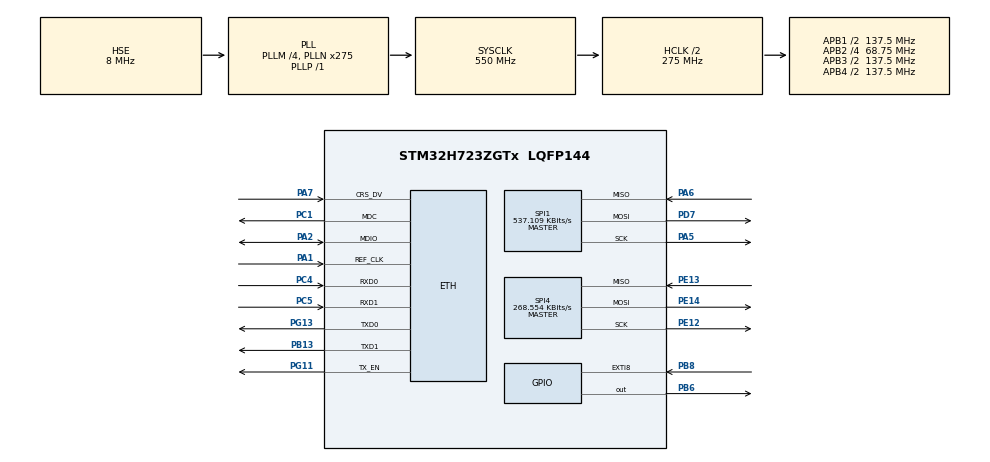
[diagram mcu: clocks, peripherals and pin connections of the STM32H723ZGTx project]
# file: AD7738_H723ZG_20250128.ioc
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CORTEX_M7.AccessPermission-Cortex_Memory_Protection_Unit_Region1_Settings=MPU_REGION_FULL_ACCESS
CORTEX_M7.AccessPermission-Cortex_Memory_Protection_Unit_Region2_Settings=MPU_REGION_FULL_ACCESS
CORTEX_M7.BaseAddress-Cortex_Memory_Protection_Unit_Region1_Settings=0x30000000
CORTEX_M7.BaseAddress-Cortex_Memory_Protection_Unit_Region2_Settings=0x30000200
CORTEX_M7.CPU_DCache=Enabled
CORTEX_M7.CPU_ICache=Enabled
CORTEX_M7.DisableExec-Cortex_Memory_Protection_Unit_Region0_Settings=MPU_INSTRUCTION_ACCESS_DISABLE
CORTEX_M7.DisableExec-Cortex_Memory_Protection_Unit_Region1_Settings=MPU_INSTRUCTION_ACCESS_DISABLE
CORTEX_M7.DisableExec-Cortex_Memory_Protection_Unit_Region2_Settings=MPU_INSTRUCTION_ACCESS_DISABLE
CORTEX_M7.Enable-Cortex_Memory_Protection_Unit_Region0_Settings=MPU_REGION_ENABLE
CORTEX_M7.Enable-Cortex_Memory_Protection_Unit_Region1_Settings=MPU_REGION_ENABLE
CORTEX_M7.Enable-Cortex_Memory_Protection_Unit_Region2_Settings=MPU_REGION_ENABLE
CORTEX_M7.IsBufferable-Cortex_Memory_Protection_Unit_Region1_Settings=MPU_ACCESS_BUFFERABLE
CORTEX_M7.IsShareable-Cortex_Memory_Protection_Unit_Region0_Settings=MPU_ACCESS_SHAREABLE
CORTEX_M7.IsShareable-Cortex_Memory_Protection_Unit_Region1_Settings=MPU_ACCESS_SHAREABLE
CORTEX_M7.IsShareable-Cortex_Memory_Protection_Unit_Region2_Settings=MPU_ACCESS_NOT_SHAREABLE
CORTEX_M7.MPU_Control=MPU_PRIVILEGED_DEFAULT
CORTEX_M7.Size-Cortex_Memory_Protection_Unit_Region0_Settings=MPU_REGION_SIZE_4GB
CORTEX_M7.Size-Cortex_Memory_Protection_Unit_Region1_Settings=MPU_REGION_SIZE_1KB
CORTEX_M7.Size-Cortex_Memory_Protection_Unit_Region2_Settings=MPU_REGION_SIZE_64KB
CORTEX_M7.SubRegionDisable-Cortex_Memory_Protection_Unit_Region0_Settings=0x87
CORTEX_M7.TypeExtField-Cortex_Memory_Protection_Unit_Region1_Settings=MPU_TEX_LEVEL0
CORTEX_M7.TypeExtField-Cortex_Memory_Protection_Unit_Region2_Settings=MPU_TEX_LEVEL1
Dma.Request0=SPI4_TX
Dma.Request1=SPI4_RX
Dma.Request2=SPI1_RX
Dma.Request3=SPI1_TX
Dma.SPI1_RX.2.Direction=DMA_PERIPH_TO_MEMORY
Dma.SPI1_RX.2.EventEnable=DISABLE
Dma.SPI1_RX.2.FIFOMode=DMA_FIFOMODE_DISABLE
Dma.SPI1_RX.2.Instance=DMA1_Stream2
Dma.SPI1_RX.2.MemDataAlignment=DMA_MDATAALIGN_BYTE
Dma.SPI1_RX.2.MemInc=DMA_MINC_ENABLE
Dma.SPI1_RX.2.Mode=DMA_NORMAL
Dma.SPI1_RX.2.PeriphDataAlignment=DMA_PDATAALIGN_BYTE
Dma.SPI1_RX.2.PeriphInc=DMA_PINC_DISABLE
Dma.SPI1_RX.2.Polarity=HAL_DMAMUX_REQ_GEN_RISING
Dma.SPI1_RX.2.Priority=DMA_PRIORITY_VERY_HIGH
Dma.SPI1_RX.2.RequestNumber=1
Dma.SPI1_RX.2.SignalID=NONE
Dma.SPI1_RX.2.SyncEnable=DISABLE
Dma.SPI1_RX.2.SyncPolarity=HAL_DMAMUX_SYNC_NO_EVENT
Dma.SPI1_RX.2.SyncRequestNumber=1
Dma.SPI1_RX.2.SyncSignalID=NONE
Dma.SPI1_TX.3.Direction=DMA_MEMORY_TO_PERIPH
Dma.SPI1_TX.3.EventEnable=DISABLE
Dma.SPI1_TX.3.FIFOMode=DMA_FIFOMODE_DISABLE
Dma.SPI1_TX.3.Instance=DMA1_Stream3
Dma.SPI1_TX.3.MemDataAlignment=DMA_MDATAALIGN_BYTE
Dma.SPI1_TX.3.MemInc=DMA_MINC_ENABLE
Dma.SPI1_TX.3.Mode=DMA_NORMAL
Dma.SPI1_TX.3.PeriphDataAlignment=DMA_PDATAALIGN_BYTE
Dma.SPI1_TX.3.PeriphInc=DMA_PINC_DISABLE
Dma.SPI1_TX.3.Polarity=HAL_DMAMUX_REQ_GEN_RISING
Dma.SPI1_TX.3.Priority=DMA_PRIORITY_VERY_HIGH
Dma.SPI1_TX.3.RequestNumber=1
Dma.SPI1_TX.3.SignalID=NONE
Dma.SPI1_TX.3.SyncEnable=DISABLE
Dma.SPI1_TX.3.SyncPolarity=HAL_DMAMUX_SYNC_NO_EVENT
Dma.SPI1_TX.3.SyncRequestNumber=1
Dma.SPI1_TX.3.SyncSignalID=NONE
Dma.SPI4_RX.1.Direction=DMA_PERIPH_TO_MEMORY
Dma.SPI4_RX.1.EventEnable=DISABLE
Dma.SPI4_RX.1.FIFOMode=DMA_FIFOMODE_DISABLE
Dma.SPI4_RX.1.Instance=DMA1_Stream1
Dma.SPI4_RX.1.MemDataAlignment=DMA_MDATAALIGN_BYTE
Dma.SPI4_RX.1.MemInc=DMA_MINC_ENABLE
Dma.SPI4_RX.1.Mode=DMA_NORMAL
Dma.SPI4_RX.1.PeriphDataAlignment=DMA_PDATAALIGN_BYTE
Dma.SPI4_RX.1.PeriphInc=DMA_PINC_DISABLE
Dma.SPI4_RX.1.Polarity=HAL_DMAMUX_REQ_GEN_RISING
Dma.SPI4_RX.1.Priority=DMA_PRIORITY_VERY_HIGH
Dma.SPI4_RX.1.RequestNumber=1
Dma.SPI4_RX.1.SignalID=NONE
Dma.SPI4_RX.1.SyncEnable=DISABLE
Dma.SPI4_RX.1.SyncPolarity=HAL_DMAMUX_SYNC_NO_EVENT
Dma.SPI4_RX.1.SyncRequestNumber=1
Dma.SPI4_RX.1.SyncSignalID=NONE
Dma.SPI4_TX.0.Direction=DMA_MEMORY_TO_PERIPH
Dma.SPI4_TX.0.EventEnable=DISABLE
Dma.SPI4_TX.0.FIFOMode=DMA_FIFOMODE_DISABLE
Dma.SPI4_TX.0.Instance=DMA1_Stream0
Dma.SPI4_TX.0.MemDataAlignment=DMA_MDATAALIGN_BYTE
Dma.SPI4_TX.0.MemInc=DMA_MINC_ENABLE
Dma.SPI4_TX.0.Mode=DMA_NORMAL
Dma.SPI4_TX.0.PeriphDataAlignment=DMA_PDATAALIGN_BYTE
Dma.SPI4_TX.0.PeriphInc=DMA_PINC_DISABLE
Dma.SPI4_TX.0.Polarity=HAL_DMAMUX_REQ_GEN_RISING
Dma.SPI4_TX.0.Priority=DMA_PRIORITY_VERY_HIGH
Dma.SPI4_TX.0.RequestNumber=1
Dma.SPI4_TX.0.SignalID=NONE
Dma.SPI4_TX.0.SyncEnable=DISABLE
Dma.SPI4_TX.0.SyncPolarity=HAL_DMAMUX_SYNC_NO_EVENT
Dma.SPI4_TX.0.SyncRequestNumber=1
Dma.SPI4_TX.0.SyncSignalID=NONE
ETH.MediaInterface=HAL_ETH_RMII_MODE
ETH.TxDescAddress=0x30000100
FREERTOS.INCLUDE_vTaskDelayUntil=1
FREERTOS.Tasks01=defaultTask,0,256,StartDefaultTask,Default,NULL,Dynamic,NULL,NULL;ethernetTask,2,256,startEthernetTask,Default,NULL,Dynamic,NULL,NULL
FREERTOS.configUSE_NEWLIB_REENTRANT=1
LWIP.BSP.number=1
LWIP.GATEWAY_ADDRESS=010.020.001.001
LWIP.IP_ADDRESS=010.020.003.003
LWIP.LWIP_DHCP=0
LWIP.LWIP_RAM_HEAP_POINTER=0x30000200
LWIP.MEM_SIZE=32232
LWIP.NETMASK_ADDRESS=255.255.000.000
LWIP.TCP_MSS=1460
LWIP.TCP_SND_BUF=5840
LWIP.TCP_SND_QUEUELEN=16
LWIP.Version=v2.1.2_Cube
LWIP0.BSP.STBoard=false
LWIP0.BSP.api=BSP_COMPONENT_DRIVER
LWIP0.BSP.component=LAN8742
LWIP0.BSP.instance=LAN8742
LWIP0.BSP.name=Driver_PHY
LWIP0.BSP.semaphore=S_LAN8742
LWIP0.BSP.solution=LAN8742
Mcu.Family=STM32H7
Mcu.Name=STM32H723ZGTx
Mcu.Package=LQFP144
NVIC.DMA1_Stream0_IRQn=true\:5\:0\:false\:false\:true\:true\:false\:true\:true
NVIC.DMA1_Stream1_IRQn=true\:5\:0\:false\:false\:true\:true\:false\:true\:true
NVIC.DMA1_Stream2_IRQn=true\:5\:0\:false\:false\:true\:true\:false\:true\:true
NVIC.DMA1_Stream3_IRQn=true\:5\:0\:false\:false\:true\:true\:false\:true\:true
NVIC.ETH_IRQn=true\:5\:0\:false\:false\:true\:true\:true\:true\:true
NVIC.EXTI9_5_IRQn=true\:5\:0\:false\:false\:true\:true\:true\:true\:true
NVIC.PriorityGroup=NVIC_PRIORITYGROUP_4
NVIC.SPI1_IRQn=true\:5\:0\:false\:false\:true\:true\:true\:true\:true
NVIC.SPI4_IRQn=true\:5\:0\:false\:false\:true\:true\:false\:true\:true
NVIC.TIM2_IRQn=true\:5\:0\:false\:false\:true\:false\:true\:true\:true
NVIC.TIM6_DAC_IRQn=true\:15\:0\:false\:false\:true\:false\:false\:true\:true
NVIC.TimeBase=TIM6_DAC_IRQn
NVIC.TimeBaseIP=TIM6
PA1.GPIO_Speed=GPIO_SPEED_FREQ_VERY_HIGH
PA1.Mode=RMII
PA1.Signal=ETH_REF_CLK
PA2.GPIO_Speed=GPIO_SPEED_FREQ_VERY_HIGH
PA2.Mode=RMII
PA2.Signal=ETH_MDIO
PA5.Mode=Full_Duplex_Master
PA5.Signal=SPI1_SCK
PA6.Mode=Full_Duplex_Master
PA6.Signal=SPI1_MISO
PA7.GPIO_Speed=GPIO_SPEED_FREQ_VERY_HIGH
PA7.Mode=RMII
PA7.Signal=ETH_CRS_DV
PB13.GPIO_Speed=GPIO_SPEED_FREQ_VERY_HIGH
PB13.Mode=RMII
PB13.Signal=ETH_TXD1
PB6.GPIO_Speed=GPIO_SPEED_FREQ_VERY_HIGH
PB6.Signal=GPIO_Output
PB8.GPIO_ModeDefaultEXTI=GPIO_MODE_IT_FALLING
PB8.GPIO_PuPd=GPIO_PULLUP
PB8.Signal=GPXTI8
PC1.GPIO_Speed=GPIO_SPEED_FREQ_VERY_HIGH
PC1.Mode=RMII
PC1.Signal=ETH_MDC
PC4.GPIO_Speed=GPIO_SPEED_FREQ_VERY_HIGH
PC4.Mode=RMII
PC4.Signal=ETH_RXD0
PC5.GPIO_Speed=GPIO_SPEED_FREQ_VERY_HIGH
PC5.Mode=RMII
PC5.Signal=ETH_RXD1
PD7.Mode=Full_Duplex_Master
PD7.Signal=SPI1_MOSI
PE12.Mode=Full_Duplex_Master
PE12.Signal=SPI4_SCK
PE13.Mode=Full_Duplex_Master
PE13.Signal=SPI4_MISO
PE14.Mode=Full_Duplex_Master
PE14.Signal=SPI4_MOSI
PG11.GPIO_Speed=GPIO_SPEED_FREQ_VERY_HIGH
PG11.Mode=RMII
PG11.Signal=ETH_TX_EN
PG13.GPIO_Speed=GPIO_SPEED_FREQ_VERY_HIGH
PG13.Mode=RMII
PG13.Signal=ETH_TXD0
PH0-OSC_IN.Mode=HSE-External-Clock-Source
PH0-OSC_IN.Signal=RCC_OSC_IN
ProjectManager.HeapSize=0x200
ProjectManager.StackSize=0x400
ProjectManager.TargetToolchain=STM32CubeIDE
RCC.ADCFreq_Value=76000000
RCC.APB1Freq_Value=137500000
RCC.APB2Freq_Value=68750000
RCC.APB3Freq_Value=137500000
RCC.APB4Freq_Value=137500000
RCC.CortexFreq_Value=550000000
RCC.D1PPRE=RCC_APB3_DIV2
RCC.D2PPRE1=RCC_APB1_DIV2
RCC.D2PPRE2=RCC_APB2_DIV4
RCC.D3PPRE=RCC_APB4_DIV2
RCC.DIVM1=4
RCC.DIVM2=1
RCC.DIVN1=275
RCC.DIVN2=19
RCC.DIVP1=1
RCC.DIVQ1=4
RCC.HCLKFreq_Value=275000000
RCC.HPRE=RCC_HCLK_DIV2
RCC.HSE_VALUE=8000000
RCC.PLLFRACN=0
RCC.PLLSourceVirtual=RCC_PLLSOURCE_HSE
RCC.SYSCLKFreq_VALUE=550000000
RCC.SYSCLKSource=RCC_SYSCLKSOURCE_PLLCLK
RCC.USBCLockSelection=RCC_USBCLKSOURCE_HSI48
RCC.USBFreq_Value=48000000
SPI1.BaudRatePrescaler=SPI_BAUDRATEPRESCALER_256
SPI1.CLKPhase=SPI_PHASE_2EDGE
SPI1.CLKPolarity=SPI_POLARITY_HIGH
SPI1.CalculateBaudRate=537.109 KBits/s
SPI1.DataSize=SPI_DATASIZE_8BIT
SPI1.Direction=SPI_DIRECTION_2LINES
SPI1.Mode=SPI_MODE_MASTER
SPI1.VirtualType=VM_MASTER
SPI4.BaudRatePrescaler=SPI_BAUDRATEPRESCALER_256
SPI4.CLKPhase=SPI_PHASE_2EDGE
SPI4.CLKPolarity=SPI_POLARITY_HIGH
SPI4.CalculateBaudRate=268.554 KBits/s
SPI4.DataSize=SPI_DATASIZE_8BIT
SPI4.Direction=SPI_DIRECTION_2LINES
SPI4.MasterKeepIOState=SPI_MASTER_KEEP_IO_STATE_DISABLE
SPI4.Mode=SPI_MODE_MASTER
SPI4.VirtualType=VM_MASTER
TIM1.Channel-Output\ Compare1\ No\ Output=TIM_CHANNEL_1
TIM1.Prescaler=1375-1
TIM2.Channel-PWM\ Generation1\ No\ Output=TIM_CHANNEL_1
TIM2.Period=1000-1
TIM2.Prescaler=275-1
TIM2.TIM_MasterOutputTrigger=TIM_TRGO_RESET
TIM23.Prescaler=275-1
VP_FREERTOS_VS_CMSIS_V1.Mode=CMSIS_V1
VP_LWIP_VS_Enabled.Mode=Enabled
VP_SYS_VS_tim6.Mode=TIM6
VP_TIM1_VS_ClockSourceINT.Mode=Internal
VP_TIM1_VS_no_output1.Mode=Output Compare1 No Output
VP_TIM23_VS_ClockSourceINT.Mode=Internal
VP_TIM2_VS_ClockSourceINT.Mode=Internal
VP_TIM2_VS_no_output1.Mode=PWM Generation1 No Output
board=NUCLEO-H723ZG

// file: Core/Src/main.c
/* USER CODE BEGIN Header */
/**
  ******************************************************************************
  * @file           : main.c
  * @brief          : Main program body
  ******************************************************************************
  * @attention
  *
  * Copyright (c) 2024 STMicroelectronics.
  * All rights reserved.
  *
  * This software is licensed under terms that can be found in the LICENSE file
  * in the root directory of this software component.
  * If no LICENSE file comes with this software, it is provided AS-IS.
  *
  ******************************************************************************
  */
/* USER CODE END Header */
#include "main.h"
#include "cmsis_os.h"
#include "lwip.h"

/* USER CODE BEGIN Includes */
#include "lwip/udp.h"
#include <string.h>
#include <stdbool.h>
#include "stm32h7xx_it.h"
#include "AD7738_Registers.h"
/* USER CODE END Includes */

SPI_HandleTypeDef hspi1;
SPI_HandleTypeDef hspi4;
DMA_HandleTypeDef hdma_spi1_rx;
DMA_HandleTypeDef hdma_spi1_tx;
DMA_HandleTypeDef hdma_spi4_tx;
DMA_HandleTypeDef hdma_spi4_rx;

TIM_HandleTypeDef htim1;
TIM_HandleTypeDef htim2;
TIM_HandleTypeDef htim23;

osThreadId defaultTaskHandle;
osThreadId ethernetTaskHandle;
/* USER CODE BEGIN PV */

uint16_t spiData[740];
uint16_t tempBuffer[641];

volatile uint16_t spiIndex = 0;
volatile uint32_t sampleNum = 0;

uint8_t resetSequence[5] = {0x00, 0xFF, 0xFF, 0xFF, 0xFF};

uint8_t checkTransmit[1] = {0b01000010};

uint8_t checkReceive[1] = {0b00000000};

uint8_t setupSequence[26] = {
	 // IO PORT SETUP
	 AD7738_COMM_WRITE| AD7738_REG_IO, 		     // IO port register, Write
	 AD7738_CH_IO_MODE1, 						 // RDY signal goes low after all conversions

	 // AIN0
	 AD7738_COMM_WRITE| AD7738_REG_CH1_SETUP, 	 // AIN0 setup register, Write
	 AD7738_CH_SETUP_MODE2, 				  	 // Enable AIN0, set to +- 2.5V, single-ended
	 AD7738_COMM_WRITE| AD7738_REG_CH1_CONVTIME, // AIN0 conversion time register, Write
	 AD7738_CH_CONVTIME_MODE3, 				 	 // new value for conversion time

	 // AIN1
	 AD7738_COMM_WRITE| AD7738_REG_CH2_SETUP, 	 // AIN1 setup register, Write
	 AD7738_CH_SETUP_MODE2, 				  	 // Enable AIN1, set to +- 2.5V, single-ended
	 AD7738_COMM_WRITE| AD7738_REG_CH2_CONVTIME, // AIN1 conversion time register, Write
	 AD7738_CH_CONVTIME_MODE3, 					 // new value for conversion time

	 // AIN2
	 AD7738_COMM_WRITE| AD7738_REG_CH3_SETUP, 	 // AIN2 setup register, Write
	 AD7738_CH_SETUP_MODE2, 				  	 // Enable AIN2, set to +- 2.5V, single-ended
	 AD7738_COMM_WRITE| AD7738_REG_CH3_CONVTIME, // AIN2 conversion time register, Write
	 AD7738_CH_CONVTIME_MODE3, 					 // new value for conversion time

	 // AIN3
	 AD7738_COMM_WRITE| AD7738_REG_CH4_SETUP, 	 // AIN3 setup register, Write
	 AD7738_CH_SETUP_MODE2, 				 	 // Enable AIN3, set to +- 2.5V, single-ended
	 AD7738_COMM_WRITE| AD7738_REG_CH4_CONVTIME, // AIN3 conversion time register, Write
	 AD7738_CH_CONVTIME_MODE3, 					 // new value for conversion time

	 // AIN4
	 AD7738_COMM_WRITE| AD7738_REG_CH5_SETUP, 	 // AIN4 setup register, Write
	 AD7738_CH_SETUP_MODE2, 				  	 // Enable AIN4, set to +- 2.5V, single-ended
	 AD7738_COMM_WRITE| AD7738_REG_CH5_CONVTIME, // AIN4 conversion time register, Write
	 AD7738_CH_CONVTIME_MODE3, 					 // new value for conversion time

	 // AIN5
	 AD7738_COMM_WRITE| AD7738_REG_CH6_SETUP, 	 // AIN5 setup register, Write
	 AD7738_CH_SETUP_MODE2,					  	 // Enable AIN5, set to +- 2.5V, single-ended
	 AD7738_COMM_WRITE| AD7738_REG_CH6_CONVTIME, // AIN5 conversion time register, Write
	 AD7738_CH_CONVTIME_MODE3, 					 // CHOP=1, 8.5kHz
};

uint8_t startContConversionSequence[2] = {
	AD7738_COMM_WRITE| AD7738_REG_CH1_MODE,
	AD7738_CH_MODE_MODE4 // Continuous conversion mode, continuous read disabled, 24 bit mode, clamp = 1
};

uint8_t txBuffer24bit[30] = {
  0b01001000, 0x00, 0x00, 0x00, 0x00,  // AIN0 data register, Read 24 bits
  0b01001001, 0x00, 0x00, 0x00, 0x00,  // AIN1 data register, Read 24 bits
  0b01001010, 0x00, 0x00, 0x00, 0x00,  // AIN2 data register, Read 24 bits
  0b01001011, 0x00, 0x00, 0x00, 0x00,  // AIN3 data register, Read 24 bits
  0b01001100, 0x00, 0x00, 0x00, 0x00,  // AIN4 data register, Read 24 bits
  0b01001101, 0x00, 0x00, 0x00, 0x00   // AIN5 data register, Read 24 bits
};
uint8_t rxBuffer24bit[30];

volatile uint8_t ch1_status;
volatile uint8_t ch2_status;
volatile uint8_t ch3_status;
volatile uint8_t ch4_status;
volatile uint8_t ch5_status;
volatile uint8_t ch6_status;

volatile uint32_t value1;
volatile uint32_t value2;
volatile uint32_t value3;
volatile uint32_t value4;
volatile uint32_t value5;
volatile uint32_t value6;

volatile uint32_t timer23val;

/* USER CODE END PV */

void SystemClock_Config(void);
static void MPU_Config(void);
static void MX_GPIO_Init(void);
static void MX_DMA_Init(void);
static void MX_TIM2_Init(void);
static void MX_SPI4_Init(void);
static void MX_TIM23_Init(void);
static void MX_TIM1_Init(void);
static void MX_SPI1_Init(void);
void StartDefaultTask(void const * argument);
void startEthernetTask(void const * argument);

int main(void)
{

  /* MPU Configuration--------------------------------------------------------*/
  MPU_Config();

  /* Enable the CPU Cache */

  /* Enable I-Cache---------------------------------------------------------*/
  SCB_EnableICache();

  /* Enable D-Cache---------------------------------------------------------*/
  SCB_EnableDCache();

  /* MCU Configuration--------------------------------------------------------*/

  /* Reset of all peripherals, Initializes the Flash interface and the Systick. */
  HAL_Init();

  /* Configure the system clock */
  SystemClock_Config();

  /* Initialize all configured peripherals */
  MX_GPIO_Init();
  MX_DMA_Init();
  MX_TIM2_Init();
  MX_SPI4_Init();
  MX_TIM23_Init();
  MX_TIM1_Init();
  MX_SPI1_Init();

  /* Create the thread(s) */
  /* definition and creation of defaultTask */
  osThreadDef(defaultTask, StartDefaultTask, osPriorityNormal, 0, 256);
  defaultTaskHandle = osThreadCreate(osThread(defaultTask), NULL);

  /* definition and creation of ethernetTask */
  osThreadDef(ethernetTask, startEthernetTask, osPriorityHigh, 0, 256);
  ethernetTaskHandle = osThreadCreate(osThread(ethernetTask), NULL);

  /* Start scheduler */
  osKernelStart();

  /* We should never get here as control is now taken by the scheduler */

  /* Infinite loop */
  while (1)
  {

  }
}

void SystemClock_Config(void)
{
  RCC_OscInitTypeDef RCC_OscInitStruct = {0};
  RCC_ClkInitTypeDef RCC_ClkInitStruct = {0};

  /** Supply configuration update enable
  */
  HAL_PWREx_ConfigSupply(PWR_LDO_SUPPLY);

  /** Configure the main internal regulator output voltage
  */
  __HAL_PWR_VOLTAGESCALING_CONFIG(PWR_REGULATOR_VOLTAGE_SCALE0);

  while(!__HAL_PWR_GET_FLAG(PWR_FLAG_VOSRDY)) {}

  /** Initializes the RCC Oscillators according to the specified parameters
  * in the RCC_OscInitTypeDef structure.
  */
  RCC_OscInitStruct.OscillatorType = RCC_OSCILLATORTYPE_HSE;
  RCC_OscInitStruct.HSEState = RCC_HSE_BYPASS;
  RCC_OscInitStruct.PLL.PLLState = RCC_PLL_ON;
  RCC_OscInitStruct.PLL.PLLSource = RCC_PLLSOURCE_HSE;
  RCC_OscInitStruct.PLL.PLLM = 4;
  RCC_OscInitStruct.PLL.PLLN = 275;
  RCC_OscInitStruct.PLL.PLLP = 1;
  RCC_OscInitStruct.PLL.PLLQ = 4;
  RCC_OscInitStruct.PLL.PLLR = 2;
  RCC_OscInitStruct.PLL.PLLRGE = RCC_PLL1VCIRANGE_1;
  RCC_OscInitStruct.PLL.PLLVCOSEL = RCC_PLL1VCOWIDE;
  RCC_OscInitStruct.PLL.PLLFRACN = 0;
  if (HAL_RCC_OscConfig(&RCC_OscInitStruct) != HAL_OK)
  {
    Error_Handler();
  }

  /** Initializes the CPU, AHB and APB buses clocks
  */
  RCC_ClkInitStruct.ClockType = RCC_CLOCKTYPE_HCLK|RCC_CLOCKTYPE_SYSCLK
                              |RCC_CLOCKTYPE_PCLK1|RCC_CLOCKTYPE_PCLK2
                              |RCC_CLOCKTYPE_D3PCLK1|RCC_CLOCKTYPE_D1PCLK1;
  RCC_ClkInitStruct.SYSCLKSource = RCC_SYSCLKSOURCE_PLLCLK;
  RCC_ClkInitStruct.SYSCLKDivider = RCC_SYSCLK_DIV1;
  RCC_ClkInitStruct.AHBCLKDivider = RCC_HCLK_DIV2;
  RCC_ClkInitStruct.APB3CLKDivider = RCC_APB3_DIV2;
  RCC_ClkInitStruct.APB1CLKDivider = RCC_APB1_DIV2;
  RCC_ClkInitStruct.APB2CLKDivider = RCC_APB2_DIV4;
  RCC_ClkInitStruct.APB4CLKDivider = RCC_APB4_DIV2;

  if (HAL_RCC_ClockConfig(&RCC_ClkInitStruct, FLASH_LATENCY_3) != HAL_OK)
  {
    Error_Handler();
  }
}

static void MX_SPI1_Init(void)
{

  /* SPI1 parameter configuration*/
  hspi1.Instance = SPI1;
  hspi1.Init.Mode = SPI_MODE_MASTER;
  hspi1.Init.Direction = SPI_DIRECTION_2LINES;
  hspi1.Init.DataSize = SPI_DATASIZE_8BIT;
  hspi1.Init.CLKPolarity = SPI_POLARITY_HIGH;
  hspi1.Init.CLKPhase = SPI_PHASE_2EDGE;
  hspi1.Init.NSS = SPI_NSS_SOFT;
  hspi1.Init.BaudRatePrescaler = SPI_BAUDRATEPRESCALER_256;
  hspi1.Init.FirstBit = SPI_FIRSTBIT_MSB;
  hspi1.Init.TIMode = SPI_TIMODE_DISABLE;
  hspi1.Init.CRCCalculation = SPI_CRCCALCULATION_DISABLE;
  hspi1.Init.CRCPolynomial = 0x0;
  hspi1.Init.NSSPMode = SPI_NSS_PULSE_ENABLE;
  hspi1.Init.NSSPolarity = SPI_NSS_POLARITY_LOW;
  hspi1.Init.FifoThreshold = SPI_FIFO_THRESHOLD_01DATA;
  hspi1.Init.TxCRCInitializationPattern = SPI_CRC_INITIALIZATION_ALL_ZERO_PATTERN;
  hspi1.Init.RxCRCInitializationPattern = SPI_CRC_INITIALIZATION_ALL_ZERO_PATTERN;
  hspi1.Init.MasterSSIdleness = SPI_MASTER_SS_IDLENESS_00CYCLE;
  hspi1.Init.MasterInterDataIdleness = SPI_MASTER_INTERDATA_IDLENESS_00CYCLE;
  hspi1.Init.MasterReceiverAutoSusp = SPI_MASTER_RX_AUTOSUSP_DISABLE;
  hspi1.Init.MasterKeepIOState = SPI_MASTER_KEEP_IO_STATE_DISABLE;
  hspi1.Init.IOSwap = SPI_IO_SWAP_DISABLE;
  if (HAL_SPI_Init(&hspi1) != HAL_OK)
  {
    Error_Handler();
  }

}

static void MX_SPI4_Init(void)
{

  /* SPI4 parameter configuration*/
  hspi4.Instance = SPI4;
  hspi4.Init.Mode = SPI_MODE_MASTER;
  hspi4.Init.Direction = SPI_DIRECTION_2LINES;
  hspi4.Init.DataSize = SPI_DATASIZE_8BIT;
  hspi4.Init.CLKPolarity = SPI_POLARITY_HIGH;
  hspi4.Init.CLKPhase = SPI_PHASE_2EDGE;
  hspi4.Init.NSS = SPI_NSS_SOFT;
  hspi4.Init.BaudRatePrescaler = SPI_BAUDRATEPRESCALER_256;
  hspi4.Init.FirstBit = SPI_FIRSTBIT_MSB;
  hspi4.Init.TIMode = SPI_TIMODE_DISABLE;
  hspi4.Init.CRCCalculation = SPI_CRCCALCULATION_DISABLE;
  hspi4.Init.CRCPolynomial = 0x0;
  hspi4.Init.NSSPMode = SPI_NSS_PULSE_ENABLE;
  hspi4.Init.NSSPolarity = SPI_NSS_POLARITY_LOW;
  hspi4.Init.FifoThreshold = SPI_FIFO_THRESHOLD_01DATA;
  hspi4.Init.TxCRCInitializationPattern = SPI_CRC_INITIALIZATION_ALL_ZERO_PATTERN;
  hspi4.Init.RxCRCInitializationPattern = SPI_CRC_INITIALIZATION_ALL_ZERO_PATTERN;
  hspi4.Init.MasterSSIdleness = SPI_MASTER_SS_IDLENESS_00CYCLE;
  hspi4.Init.MasterInterDataIdleness = SPI_MASTER_INTERDATA_IDLENESS_00CYCLE;
  hspi4.Init.MasterReceiverAutoSusp = SPI_MASTER_RX_AUTOSUSP_DISABLE;
  hspi4.Init.MasterKeepIOState = SPI_MASTER_KEEP_IO_STATE_DISABLE;
  hspi4.Init.IOSwap = SPI_IO_SWAP_DISABLE;
  if (HAL_SPI_Init(&hspi4) != HAL_OK)
  {
    Error_Handler();
  }

}

static void MX_TIM1_Init(void)
{

  TIM_ClockConfigTypeDef sClockSourceConfig = {0};
  TIM_MasterConfigTypeDef sMasterConfig = {0};
  TIM_OC_InitTypeDef sConfigOC = {0};
  TIM_BreakDeadTimeConfigTypeDef sBreakDeadTimeConfig = {0};

  htim1.Instance = TIM1;
  htim1.Init.Prescaler = 1375-1;
  htim1.Init.CounterMode = TIM_COUNTERMODE_UP;
  htim1.Init.Period = 65535;
  htim1.Init.ClockDivision = TIM_CLOCKDIVISION_DIV1;
  htim1.Init.RepetitionCounter = 0;
  htim1.Init.AutoReloadPreload = TIM_AUTORELOAD_PRELOAD_DISABLE;
  if (HAL_TIM_Base_Init(&htim1) != HAL_OK)
  {
    Error_Handler();
  }
  sClockSourceConfig.ClockSource = TIM_CLOCKSOURCE_INTERNAL;
  if (HAL_TIM_ConfigClockSource(&htim1, &sClockSourceConfig) != HAL_OK)
  {
    Error_Handler();
  }
  if (HAL_TIM_OC_Init(&htim1) != HAL_OK)
  {
    Error_Handler();
  }
  sMasterConfig.MasterOutputTrigger = TIM_TRGO_RESET;
  sMasterConfig.MasterOutputTrigger2 = TIM_TRGO2_RESET;
  sMasterConfig.MasterSlaveMode = TIM_MASTERSLAVEMODE_DISABLE;
  if (HAL_TIMEx_MasterConfigSynchronization(&htim1, &sMasterConfig) != HAL_OK)
  {
    Error_Handler();
  }
  sConfigOC.OCMode = TIM_OCMODE_TIMING;
  sConfigOC.Pulse = 0;
  sConfigOC.OCPolarity = TIM_OCPOLARITY_HIGH;
  sConfigOC.OCNPolarity = TIM_OCNPOLARITY_HIGH;
  sConfigOC.OCFastMode = TIM_OCFAST_DISABLE;
  sConfigOC.OCIdleState = TIM_OCIDLESTATE_RESET;
  sConfigOC.OCNIdleState = TIM_OCNIDLESTATE_RESET;
  if (HAL_TIM_OC_ConfigChannel(&htim1, &sConfigOC, TIM_CHANNEL_1) != HAL_OK)
  {
    Error_Handler();
  }
  sBreakDeadTimeConfig.OffStateRunMode = TIM_OSSR_DISABLE;
  sBreakDeadTimeConfig.OffStateIDLEMode = TIM_OSSI_DISABLE;
  sBreakDeadTimeConfig.LockLevel = TIM_LOCKLEVEL_OFF;
  sBreakDeadTimeConfig.DeadTime = 0;
  sBreakDeadTimeConfig.BreakState = TIM_BREAK_DISABLE;
  sBreakDeadTimeConfig.BreakPolarity = TIM_BREAKPOLARITY_HIGH;
  sBreakDeadTimeConfig.BreakFilter = 0;
  sBreakDeadTimeConfig.Break2State = TIM_BREAK2_DISABLE;
  sBreakDeadTimeConfig.Break2Polarity = TIM_BREAK2POLARITY_HIGH;
  sBreakDeadTimeConfig.Break2Filter = 0;
  sBreakDeadTimeConfig.AutomaticOutput = TIM_AUTOMATICOUTPUT_DISABLE;
  if (HAL_TIMEx_ConfigBreakDeadTime(&htim1, &sBreakDeadTimeConfig) != HAL_OK)
  {
    Error_Handler();
  }

}

static void MX_TIM2_Init(void)
{

  TIM_ClockConfigTypeDef sClockSourceConfig = {0};
  TIM_MasterConfigTypeDef sMasterConfig = {0};
  TIM_OC_InitTypeDef sConfigOC = {0};

  htim2.Instance = TIM2;
  htim2.Init.Prescaler = 275-1;
  htim2.Init.CounterMode = TIM_COUNTERMODE_UP;
  htim2.Init.Period = 1000-1;
  htim2.Init.ClockDivision = TIM_CLOCKDIVISION_DIV1;
  htim2.Init.AutoReloadPreload = TIM_AUTORELOAD_PRELOAD_DISABLE;
  if (HAL_TIM_Base_Init(&htim2) != HAL_OK)
  {
    Error_Handler();
  }
  sClockSourceConfig.ClockSource = TIM_CLOCKSOURCE_INTERNAL;
  if (HAL_TIM_ConfigClockSource(&htim2, &sClockSourceConfig) != HAL_OK)
  {
    Error_Handler();
  }
  if (HAL_TIM_PWM_Init(&htim2) != HAL_OK)
  {
    Error_Handler();
  }
  sMasterConfig.MasterOutputTrigger = TIM_TRGO_RESET;
  sMasterConfig.MasterSlaveMode = TIM_MASTERSLAVEMODE_DISABLE;
  if (HAL_TIMEx_MasterConfigSynchronization(&htim2, &sMasterConfig) != HAL_OK)
  {
    Error_Handler();
  }
  sConfigOC.OCMode = TIM_OCMODE_PWM1;
  sConfigOC.Pulse = 0;
  sConfigOC.OCPolarity = TIM_OCPOLARITY_HIGH;
  sConfigOC.OCFastMode = TIM_OCFAST_DISABLE;
  if (HAL_TIM_PWM_ConfigChannel(&htim2, &sConfigOC, TIM_CHANNEL_1) != HAL_OK)
  {
    Error_Handler();
  }

}

static void MX_TIM23_Init(void)
{

  TIM_ClockConfigTypeDef sClockSourceConfig = {0};
  TIM_MasterConfigTypeDef sMasterConfig = {0};

  htim23.Instance = TIM23;
  htim23.Init.Prescaler = 275-1;
  htim23.Init.CounterMode = TIM_COUNTERMODE_UP;
  htim23.Init.Period = 4294967295;
  htim23.Init.ClockDivision = TIM_CLOCKDIVISION_DIV1;
  htim23.Init.AutoReloadPreload = TIM_AUTORELOAD_PRELOAD_DISABLE;
  if (HAL_TIM_Base_Init(&htim23) != HAL_OK)
  {
    Error_Handler();
  }
  sClockSourceConfig.ClockSource = TIM_CLOCKSOURCE_INTERNAL;
  if (HAL_TIM_ConfigClockSource(&htim23, &sClockSourceConfig) != HAL_OK)
  {
    Error_Handler();
  }
  sMasterConfig.MasterOutputTrigger = TIM_TRGO_RESET;
  sMasterConfig.MasterSlaveMode = TIM_MASTERSLAVEMODE_DISABLE;
  if (HAL_TIMEx_MasterConfigSynchronization(&htim23, &sMasterConfig) != HAL_OK)
  {
    Error_Handler();
  }

}

static void MX_DMA_Init(void)
{

  /* DMA controller clock enable */
  __HAL_RCC_DMA1_CLK_ENABLE();

  /* DMA interrupt init */
  /* DMA1_Stream0_IRQn interrupt configuration */
  HAL_NVIC_SetPriority(DMA1_Stream0_IRQn, 5, 0);
  HAL_NVIC_EnableIRQ(DMA1_Stream0_IRQn);
  /* DMA1_Stream1_IRQn interrupt configuration */
  HAL_NVIC_SetPriority(DMA1_Stream1_IRQn, 5, 0);
  HAL_NVIC_EnableIRQ(DMA1_Stream1_IRQn);
  /* DMA1_Stream2_IRQn interrupt configuration */
  HAL_NVIC_SetPriority(DMA1_Stream2_IRQn, 5, 0);
  HAL_NVIC_EnableIRQ(DMA1_Stream2_IRQn);
  /* DMA1_Stream3_IRQn interrupt configuration */
  HAL_NVIC_SetPriority(DMA1_Stream3_IRQn, 5, 0);
  HAL_NVIC_EnableIRQ(DMA1_Stream3_IRQn);

}

static void MX_GPIO_Init(void)
{
  GPIO_InitTypeDef GPIO_InitStruct = {0};

  /* GPIO Ports Clock Enable */
  __HAL_RCC_GPIOH_CLK_ENABLE();
  __HAL_RCC_GPIOC_CLK_ENABLE();
  __HAL_RCC_GPIOA_CLK_ENABLE();
  __HAL_RCC_GPIOE_CLK_ENABLE();
  __HAL_RCC_GPIOB_CLK_ENABLE();
  __HAL_RCC_GPIOD_CLK_ENABLE();
  __HAL_RCC_GPIOG_CLK_ENABLE();

  /*Configure GPIO pin Output Level */
  HAL_GPIO_WritePin(GPIOB, GPIO_PIN_6, GPIO_PIN_RESET);

  /*Configure GPIO pin : PB6 */
  GPIO_InitStruct.Pin = GPIO_PIN_6;
  GPIO_InitStruct.Mode = GPIO_MODE_OUTPUT_PP;
  GPIO_InitStruct.Pull = GPIO_NOPULL;
  GPIO_InitStruct.Speed = GPIO_SPEED_FREQ_VERY_HIGH;
  HAL_GPIO_Init(GPIOB, &GPIO_InitStruct);

  /*Configure GPIO pin : PB8 */
  GPIO_InitStruct.Pin = GPIO_PIN_8;
  GPIO_InitStruct.Mode = GPIO_MODE_IT_FALLING;
  GPIO_InitStruct.Pull = GPIO_PULLUP;
  HAL_GPIO_Init(GPIOB, &GPIO_InitStruct);

  /* EXTI interrupt init*/
  HAL_NVIC_SetPriority(EXTI9_5_IRQn, 5, 0);
  HAL_NVIC_EnableIRQ(EXTI9_5_IRQn);

}

/* USER CODE BEGIN 4 */

void HAL_SPI_TxRxCpltCallback(SPI_HandleTypeDef *hspi)
{
	if (hspi->Instance == SPI1) {

		HAL_GPIO_WritePin(GPIOB, GPIO_PIN_6, GPIO_PIN_SET);

		ch1_status = rxBuffer24bit[1];
		ch2_status = rxBuffer24bit[6];
		ch3_status = rxBuffer24bit[11];
		ch4_status = rxBuffer24bit[16];
		ch5_status = rxBuffer24bit[21];
		ch6_status = rxBuffer24bit[26];

		value1 = (rxBuffer24bit[2] << 16) | (rxBuffer24bit[3] << 8) | rxBuffer24bit[4];
		value2 = (rxBuffer24bit[7] << 16) | (rxBuffer24bit[8] << 8) | rxBuffer24bit[9];
		value3 = (rxBuffer24bit[12] << 16) | (rxBuffer24bit[13] << 8) | rxBuffer24bit[14];
		value4 = (rxBuffer24bit[17] << 16) | (rxBuffer24bit[18] << 8) | rxBuffer24bit[19];
		value5 = (rxBuffer24bit[22] << 16) | (rxBuffer24bit[23] << 8) | rxBuffer24bit[24];
		value6 = (rxBuffer24bit[27] << 16) | (rxBuffer24bit[28] << 8) | rxBuffer24bit[29];

		spiData[spiIndex] = value1 & 0xFFFF; // value1 bit1, bit2
		spiData[spiIndex + 1] = ((value1 >> 16) & 0xFFFF) | ((value2 & 0xFF) << 8); //value1 bit3, value2 bit1
		spiData[spiIndex + 2] = (value2 >> 8) & 0xFFFF; // value2 bit2, bit3
		spiData[spiIndex + 3] = value3 & 0xFFFF; // value3 bit1, bit2
		spiData[spiIndex + 4] = ((value3 >> 16) & 0xFFFF) | ((value4 & 0xFF) << 8); //value3 bit3, value4 bit 1
		spiData[spiIndex + 5] = (value4 >> 8) & 0xFFFF; // value4 bit2, bit3
		spiData[spiIndex + 6] = value5 & 0xFFFF; // value5 bit1, bit2
		spiData[spiIndex + 7] = ((value5 >> 16) & 0xFFFF) | ((value6 & 0xFF) << 8); //value5 bit3, value6 bit 1
		spiData[spiIndex + 8] = (value6 >> 8) & 0xFFFF; // value6 bit2, bit3
		spiData[spiIndex + 9] = ch1_status | (ch2_status << 8);
		spiData[spiIndex + 10] = ch3_status | (ch4_status << 8);
		spiData[spiIndex + 11] = ch5_status | (ch6_status << 8);
		spiData[spiIndex + 12] = (timer23val & 0xFFFF);
		spiData[spiIndex + 13] = (timer23val >> 16) & 0xFFFF;
		spiData[spiIndex + 14] = 0xAB89; // 16 bit spacer
		spiData[spiIndex + 15] = 0xEFCD; // 16 bit spacer (two are necessary due to timer23val being 32 bit -- all 16 bit values are eventually covered)

//		spiData[spiIndex] = value1 & 0xFFFF; // value1
//		spiData[spiIndex + 1] = (value1 >> 16) & 0xFFFF; // value2
//		spiData[spiIndex + 2] = value6 & 0xFFFF; // value3
//		spiData[spiIndex + 3] = (value6 >> 16) & 0xFFFF; //ch1_status
//		spiData[spiIndex + 4] = ch1_status; //ch2_status
//		spiData[spiIndex + 5] = ch6_status; //ch3_status
//		spiData[spiIndex + 6] = (timer23val & 0xFFFF);
//		spiData[spiIndex + 7] = (timer23val >> 16) & 0xFFFF;
//		spiData[spiIndex + 8] = 0xAB89; // 16 bit spacer
//		spiData[spiIndex + 9] = 0xEFCD; // 16 bit spacer (two are necessary due to timer23val being 32 bit -- all 16 bit values are eventually covered)

		spiIndex = spiIndex + 16;

		if (spiIndex >= 740) {
			spiIndex = 0;
		}

		else if (spiIndex == 640) {
			spiData[spiIndex] = sampleNum;
			sampleNum++;
			spiIndex++;

			BaseType_t xHigherPriorityTaskWoken = pdFALSE;
			vTaskNotifyGiveFromISR(ethernetTaskHandle, &xHigherPriorityTaskWoken); // function will set xHigherPriorityTaskWoken to pdTRUE if the unblocked task (ethernetTaskHandle) has a higher priority than the currently running task. Also unblocks task
			portYIELD_FROM_ISR(xHigherPriorityTaskWoken); // if xHigherPriorityTaskWoken is pdTURE, scheduler will switch to the ethernetTaskHandle task as soon as the ISR completes. Otherwise, currently running task will continue to run after ISR completes
		}
	}
}

void initializeA7738Board() {

	// RESET DEVICE
	HAL_GPIO_WritePin(GPIOB, GPIO_PIN_6, GPIO_PIN_RESET);
	HAL_SPI_Transmit(&hspi1, (uint8_t *)resetSequence, 5, HAL_MAX_DELAY);
	HAL_GPIO_WritePin(GPIOB, GPIO_PIN_6, GPIO_PIN_SET);

	// CHECK FOR FUNCTIONALITY
	HAL_GPIO_WritePin(GPIOB, GPIO_PIN_6, GPIO_PIN_RESET);
	HAL_SPI_Transmit(&hspi1, (uint8_t *)checkTransmit, 1, HAL_MAX_DELAY);
	HAL_SPI_Receive(&hspi1, (uint8_t *)checkReceive, 1, HAL_MAX_DELAY);
	HAL_GPIO_WritePin(GPIOB, GPIO_PIN_6, GPIO_PIN_SET);
	if (checkReceive[0] == 0x43) {
	  // do something -- blink light?
	} else {
	  // do something\-- blink light?
	}

	// DEVICE SETUP
	HAL_GPIO_WritePin(GPIOB, GPIO_PIN_6, GPIO_PIN_RESET);
	HAL_SPI_Transmit(&hspi1, (uint8_t *)setupSequence, 26, HAL_MAX_DELAY);
	HAL_GPIO_WritePin(GPIOB, GPIO_PIN_6, GPIO_PIN_SET);

	// START CONTINUOUS CONVERSION MODE
	HAL_GPIO_WritePin(GPIOB, GPIO_PIN_6, GPIO_PIN_RESET);
	HAL_SPI_Transmit(&hspi1, (uint8_t *)startContConversionSequence, 2, HAL_MAX_DELAY); // The device now enters CC mode, starting from AIN0
	HAL_GPIO_WritePin(GPIOB, GPIO_PIN_6, GPIO_PIN_SET);
}

// EXTI Line8 External Interrupt ISR Handler CallBackFun
void HAL_GPIO_EXTI_Callback(uint16_t GPIO_Pin)
{
    if(GPIO_Pin == GPIO_PIN_8) // If The INT Source Is EXTI Line8 (PB8 Pin)
    {
      HAL_GPIO_WritePin(GPIOB, GPIO_PIN_6, GPIO_PIN_RESET);
	  HAL_SPI_TransmitReceive_IT(&hspi1, (uint8_t *)txBuffer24bit, (uint8_t *)rxBuffer24bit, 30); //txBuffer24bit, rxBuffer24bit, 24
	  timer23val = __HAL_TIM_GET_COUNTER(&htim23);
    }
}

/* USER CODE END 4 */

void StartDefaultTask(void const * argument)
{
  /* USER CODE BEGIN 5 */
	// MAKE SURE TO DELETE ANY "MX_LWIP_Init()" ABOVE
  /* Infinite loop */
  for(;;)
  {
    osDelay(1);
  }
  /* USER CODE END 5 */
}

void startEthernetTask(void const * argument)
{
  /* USER CODE BEGIN startEthernetTask */
	MX_LWIP_Init();

	osDelay(100); // let LWIP be initialized

	// Own IP
	ip_addr_t myIPaddr;
	IP_ADDR4(&myIPaddr, 10, 20, 3, 3);

	// Computer IP
	ip_addr_t PC_IPADDR;
	IP_ADDR4(&PC_IPADDR, 10, 20, 1, 3);

	struct udp_pcb* my_udp = udp_new();
	udp_bind(my_udp, &myIPaddr, 8);
	udp_connect(my_udp, &PC_IPADDR, 55151);
	struct pbuf* udp_buffer = NULL;

//	// Set PG12 to high to select 'transmit' on Arduino RS422 shield
//	HAL_GPIO_WritePin(GPIOG, GPIO_PIN_12, 1);

	/* Start Timer 5 */
	HAL_TIM_Base_Start(&htim23);
	HAL_TIM_Base_Start(&htim1);

	// Start Timer 2 with 1ms interrupts
	HAL_TIM_Base_Start_IT(&htim2);

	initializeA7738Board();

	for(;;)
	{
//	  osDelay(1);
	  // Wait for the notification to send data
	  ulTaskNotifyTake(pdTRUE, portMAX_DELAY);

	  // Copy samples from spiData to tempBuffer
	  memcpy(tempBuffer, spiData, sizeof(tempBuffer));

	  // Send the data over Ethernet
	  udp_buffer = pbuf_alloc(PBUF_TRANSPORT, sizeof(tempBuffer), PBUF_RAM);
	  if (udp_buffer != NULL)
	  {
		  memcpy(udp_buffer->payload, tempBuffer, sizeof(tempBuffer));
		  udp_send(my_udp, udp_buffer);
		  pbuf_free(udp_buffer);
	  }

	  // Shift the remaining samples up in the spiData buffer (pointer to dest, pointer to source, number of bytes)
	  memmove(spiData, &spiData[641], sizeof(spiData) - sizeof(tempBuffer));

	  // Update spiIndex to reflect the new starting position
	  spiIndex -= 641;

	}
  /* USER CODE END startEthernetTask */
}

 /* MPU Configuration */

void MPU_Config(void)
{
  MPU_Region_InitTypeDef MPU_InitStruct = {0};

  /* Disables the MPU */
  HAL_MPU_Disable();

  /** Initializes and configures the Region and the memory to be protected
  */
  MPU_InitStruct.Enable = MPU_REGION_ENABLE;
  MPU_InitStruct.Number = MPU_REGION_NUMBER0;
  MPU_InitStruct.BaseAddress = 0x0;
  MPU_InitStruct.Size = MPU_REGION_SIZE_4GB;
  MPU_InitStruct.SubRegionDisable = 0x87;
  MPU_InitStruct.TypeExtField = MPU_TEX_LEVEL0;
  MPU_InitStruct.AccessPermission = MPU_REGION_NO_ACCESS;
  MPU_InitStruct.DisableExec = MPU_INSTRUCTION_ACCESS_DISABLE;
  MPU_InitStruct.IsShareable = MPU_ACCESS_SHAREABLE;
  MPU_InitStruct.IsCacheable = MPU_ACCESS_NOT_CACHEABLE;
  MPU_InitStruct.IsBufferable = MPU_ACCESS_NOT_BUFFERABLE;

  HAL_MPU_ConfigRegion(&MPU_InitStruct);

  /** Initializes and configures the Region and the memory to be protected
  */
  MPU_InitStruct.Number = MPU_REGION_NUMBER1;
  MPU_InitStruct.BaseAddress = 0x30000000;
  MPU_InitStruct.Size = MPU_REGION_SIZE_1KB;
  MPU_InitStruct.SubRegionDisable = 0x0;
  MPU_InitStruct.AccessPermission = MPU_REGION_FULL_ACCESS;
  MPU_InitStruct.IsBufferable = MPU_ACCESS_BUFFERABLE;

  HAL_MPU_ConfigRegion(&MPU_InitStruct);

  /** Initializes and configures the Region and the memory to be protected
  */
  MPU_InitStruct.Number = MPU_REGION_NUMBER2;
  MPU_InitStruct.BaseAddress = 0x30000200;
  MPU_InitStruct.Size = MPU_REGION_SIZE_64KB;
  MPU_InitStruct.TypeExtField = MPU_TEX_LEVEL1;
  MPU_InitStruct.IsShareable = MPU_ACCESS_NOT_SHAREABLE;
  MPU_InitStruct.IsBufferable = MPU_ACCESS_NOT_BUFFERABLE;

  HAL_MPU_ConfigRegion(&MPU_InitStruct);
  /* Enables the MPU */
  HAL_MPU_Enable(MPU_PRIVILEGED_DEFAULT);

}

void HAL_TIM_PeriodElapsedCallback(TIM_HandleTypeDef *htim)
{
  if (htim->Instance == TIM6) {
    HAL_IncTick();
  }
}

void Error_Handler(void)
{
  __disable_irq();
  while (1)
  {
  }
}
